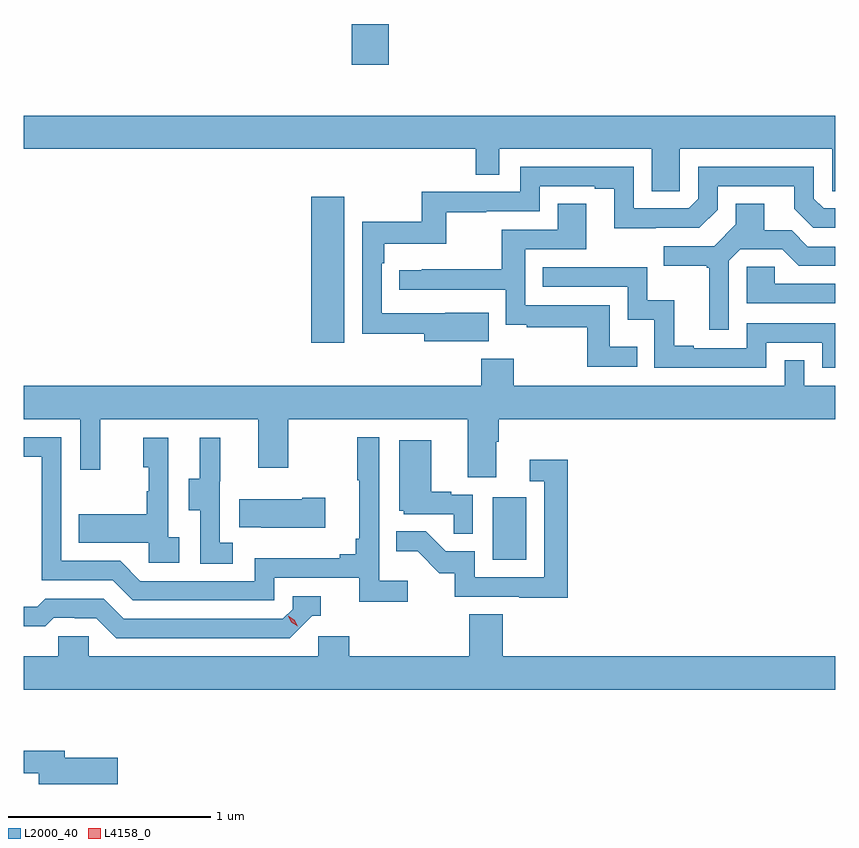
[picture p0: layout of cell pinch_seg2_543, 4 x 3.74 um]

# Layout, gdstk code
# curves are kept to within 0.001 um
import gdstk
lib = gdstk.Library(unit=1e-6, precision=1e-09)
def R(c, l, rs):  # rectangles x0, y0, x1, y1
    for r in rs: c.add(gdstk.rectangle(r[:2], r[2:], *l))
def P(c, l, *ps):  # polygons
    for p in ps: c.add(gdstk.Polygon(p, *l))
L2000_40 = (2000, 40)
L4158_0 = (4158, 0)

pinch_seg2_543 = lib.new_cell('pinch_seg2_543')
R(pinch_seg2_543, L2000_40, [(1119.962,608.316,1120.126,608.623), (1119.068,609.384,1119.229,610.105), (1119.266,610.755,1119.449,610.955)])
P(pinch_seg2_543, L2000_40, [(1120.884,610.34),(1121.634,610.34),(1121.634,610.132),(1121.65,610.132),(1121.65,610.504),(1117.65,610.504),(1117.65,610.34),(1119.877,610.34),(1119.877,610.213),(1119.993,610.213),(1119.993,610.34),(1120.745,610.34),(1120.745,610.132),(1120.884,610.132)],
  [(1119.941,609.532),(1119.414,609.531),(1119.414,609.776),(1119.428,609.776),(1119.428,609.872),(1119.733,609.872),(1119.733,610.027),(1119.929,610.027),(1119.929,610.032),(1120.194,610.032),(1120.194,610.155),(1120.463,610.155),(1120.463,610.143),(1120.559,610.143),(1120.559,609.95),(1120.98,609.951),(1121.07,610.041),(1121.07,610.155),(1121.447,610.155),(1121.447,610.045),(1121.541,609.951),(1121.65,609.951),(1121.65,610.047),(1121.592,610.047),(1121.544,610.095),(1121.544,610.251),(1120.974,610.251),(1120.974,610.095),(1120.926,610.047),(1120.656,610.047),(1120.656,610.251),(1120.098,610.251),(1120.098,610.128),(1119.612,610.128),(1119.612,609.982),(1119.318,609.982),(1119.318,609.43),(1119.623,609.43),(1119.623,609.392),(1119.941,609.392)],
  [(1120.673,609.364),(1120.539,609.364),(1120.539,609.57),(1120.122,609.57),(1120.122,609.846),(1120.423,609.846),(1120.423,610.07),(1120.283,610.07),(1120.283,609.942),(1120.006,609.942),(1120.006,609.746),(1119.613,609.746),(1119.613,609.741),(1119.501,609.741),(1119.501,609.645),(1120.026,609.645),(1120.026,609.473),(1120.129,609.473),(1120.129,609.462),(1120.428,609.462),(1120.428,609.267),(1120.673,609.267)],
  [(1121.124,609.789),(1121.181,609.846),(1121.387,609.846),(1121.468,609.765),(1121.65,609.765),(1121.65,609.858),(1121.514,609.858),(1121.434,609.938),(1121.299,609.938),(1121.299,610.07),(1121.159,610.07),(1121.159,609.968),(1121.052,609.861),(1120.803,609.861),(1120.803,609.764),(1121.016,609.764),(1121.016,609.753),(1121.027,609.753),(1121.027,609.45),(1121.124,609.45)],
  [(1121.65,609.675),(1121.351,609.675),(1121.351,609.759),(1121.214,609.759),(1121.214,609.579),(1121.65,609.579)],
  [(1121.31,609.384),(1121.586,609.384),(1121.586,609.261),(1121.65,609.261),(1121.65,609.48),(1121.214,609.48),(1121.214,609.357),(1120.951,609.357),(1120.951,609.37),(1120.855,609.37),(1120.855,609.595),(1120.722,609.595),(1120.722,609.756),(1120.207,609.756),(1120.207,609.66),(1120.626,609.66),(1120.626,609.497),(1120.758,609.497),(1120.758,609.261),(1121.31,609.261)],
  [(1119.979,608.896),(1119.992,608.896),(1119.992,609.008),(1121.65,609.008),(1121.65,609.172),(1121.496,609.172),(1121.496,609.299),(1121.4,609.299),(1121.4,609.172),(1120.065,609.172),(1120.065,609.307),(1119.905,609.307),(1119.905,609.172),(1117.65,609.172),(1117.65,609.008),(1117.929,609.008),(1117.929,608.76),(1118.027,608.76),(1118.027,609.008),(1118.807,609.008),(1118.807,608.769),(1118.955,608.769),(1118.955,609.008),(1119.839,609.008),(1119.839,608.722),(1119.979,608.722)],
  [(1119.544,608.212),(1119.402,608.212),(1119.402,608.92),(1119.294,608.92),(1119.294,608.707),(1119.305,608.707),(1119.305,608.419),(1119.286,608.419),(1119.286,608.342),(1119.209,608.342),(1119.209,608.323),(1118.79,608.323),(1118.79,608.211),(1118.226,608.211),(1118.127,608.31),(1117.836,608.31),(1117.836,608.919),(1117.65,608.919),(1117.65,608.823),(1117.74,608.823),(1117.74,608.214),(1118.09,608.214),(1118.189,608.115),(1118.886,608.115),(1118.886,608.226),(1119.305,608.226),(1119.305,608.11),(1119.544,608.11)],
  [(1118.68,608.399),(1118.616,608.399),(1118.616,608.703),(1118.618,608.703),(1118.618,608.917),(1118.519,608.917),(1118.519,608.715),(1118.465,608.715),(1118.465,608.56),(1118.52,608.56),(1118.52,608.296),(1118.68,608.296)],
  [(1118.416,608.426),(1118.364,608.426),(1118.364,608.917),(1118.24,608.917),(1118.24,608.772),(1118.266,608.772),(1118.266,608.654),(1118.256,608.654),(1118.256,608.539),(1117.921,608.539),(1117.921,608.399),(1118.268,608.399),(1118.268,608.301),(1118.416,608.301)],
  [(1119.864,608.637),(1119.758,608.637),(1119.758,608.65),(1119.658,608.65),(1119.658,608.905),(1119.5,608.905),(1119.5,608.556),(1119.522,608.556),(1119.522,608.541),(1119.769,608.541),(1119.769,608.443),(1119.864,608.443)],
  [(1120.331,608.809),(1120.143,608.809),(1120.143,608.703),(1120.215,608.703),(1120.215,608.229),(1119.873,608.229),(1119.873,608.358),(1119.729,608.358),(1119.631,608.456),(1119.487,608.456),(1119.487,608.357),(1119.591,608.357),(1119.698,608.25),(1119.775,608.25),(1119.775,608.133),(1120.093,608.133),(1120.093,608.128),(1120.331,608.128)],
  [(1119.136,608.622),(1119.023,608.622),(1119.023,608.614),(1118.713,608.614),(1118.713,608.477),(1118.821,608.477),(1118.821,608.474),(1119.136,608.474)],
  [(1119.072,608.04),(1119.115,608.04),(1119.115,608.136),(1118.976,608.136),(1118.976,608.073),(1118.928,608.025),(1118.145,608.025),(1118.046,608.124),(1117.757,608.124),(1117.718,608.085),(1117.65,608.085),(1117.65,607.989),(1117.757,607.989),(1117.799,608.031),(1117.902,608.031),(1117.902,608.028),(1118.009,608.028),(1118.108,607.929),(1118.961,607.929)],
  [(1121.65,607.84),(1120.01,607.84),(1120.01,608.048),(1119.845,608.048),(1119.845,607.84),(1119.254,607.84),(1119.254,607.938),(1119.102,607.938),(1119.102,607.84),(1117.971,607.84),(1117.971,607.938),(1117.821,607.938),(1117.821,607.84),(1117.65,607.84),(1117.65,607.676),(1121.65,607.676)],
  [(1118.113,607.341),(1117.852,607.341),(1117.852,607.375),(1117.65,607.375),(1117.65,607.265),(1117.724,607.265),(1117.724,607.211),(1118.113,607.211)])
P(pinch_seg2_543, L4158_0, [(1119,607.988),(1118.969,608.007),(1118.953,608.039),(1118.953,608.04),(1118.953,608.04),(1118.984,608.02),(1119,607.988),(1119,607.988)])

lib.write_gds('pinch_seg2_543.gds')
